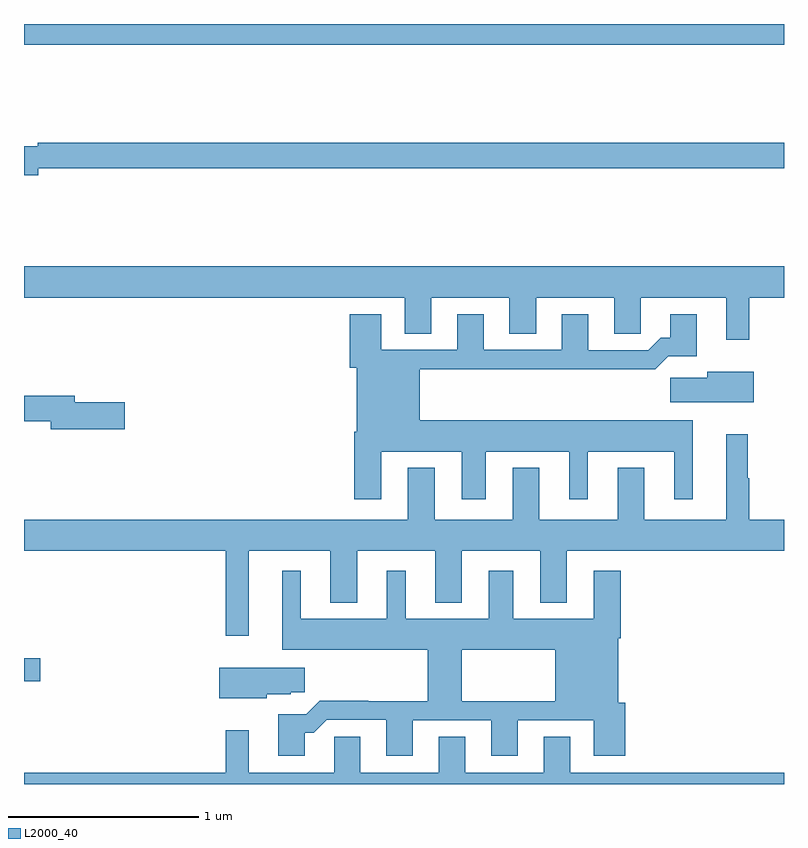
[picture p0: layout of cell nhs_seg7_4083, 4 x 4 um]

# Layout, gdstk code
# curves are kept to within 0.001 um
import gdstk
lib = gdstk.Library(unit=1e-6, precision=1e-09)
def R(c, l, rs):  # rectangles x0, y0, x1, y1
    for r in rs: c.add(gdstk.rectangle(r[:2], r[2:], *l))
def P(c, l, *ps):  # polygons
    for p in ps: c.add(gdstk.Polygon(p, *l))
L2000_40 = (2000, 40)

nhs_seg7_4083 = lib.new_cell('nhs_seg7_4083')
R(nhs_seg7_4083, L2000_40, [(369,1054.541,369.085,1054.663), (369,1057.892,373,1058)])
P(nhs_seg7_4083, L2000_40, [(369.076,1057.24),(373,1057.24),(373,1057.376),(369.072,1057.376),(369.072,1057.357),(369,1057.357),(369,1057.205),(369.076,1057.205)],
  [(369,1056.56),(371.003,1056.56),(371.003,1056.37),(371.143,1056.37),(371.143,1056.56),(371.555,1056.56),(371.555,1056.37),(371.695,1056.37),(371.695,1056.56),(372.107,1056.56),(372.107,1056.37),(372.246,1056.37),(372.246,1056.56),(372.695,1056.56),(372.695,1056.339),(372.817,1056.339),(372.817,1056.56),(373,1056.56),(373,1056.724),(369,1056.724)],
  [(370.879,1055.75),(371.303,1055.75),(371.303,1055.499),(371.431,1055.499),(371.431,1055.75),(371.87,1055.75),(371.87,1055.499),(371.968,1055.499),(371.968,1055.75),(372.422,1055.75),(372.422,1055.499),(372.52,1055.499),(372.52,1055.914),(371.083,1055.914),(371.083,1056.184),(372.067,1056.184),(372.067,1056.182),(372.323,1056.182),(372.392,1056.251),(372.541,1056.251),(372.541,1056.472),(372.401,1056.472),(372.401,1056.349),(372.352,1056.349),(372.285,1056.282),(371.971,1056.282),(371.971,1056.472),(371.831,1056.472),(371.831,1056.285),(371.419,1056.285),(371.419,1056.472),(371.279,1056.472),(371.279,1056.285),(370.879,1056.285),(370.879,1056.472),(370.715,1056.472),(370.715,1056.192),(370.751,1056.192),(370.751,1055.854),(370.739,1055.854),(370.739,1055.499),(370.879,1055.499)],
  [(372.841,1056.169),(372.596,1056.169),(372.596,1056.137),(372.402,1056.137),(372.402,1056.008),(372.841,1056.008)],
  [(369.529,1056.008),(369.268,1056.008),(369.268,1056.044),(369,1056.044),(369,1055.908),(369.14,1055.908),(369.14,1055.866),(369.529,1055.866)],
  [(370.183,1055.228),(370.613,1055.228),(370.613,1054.955),(370.753,1054.955),(370.753,1055.228),(371.165,1055.228),(371.165,1054.955),(371.305,1054.955),(371.305,1055.228),(371.717,1055.228),(371.717,1054.955),(371.857,1054.955),(371.857,1055.228),(373,1055.228),(373,1055.392),(372.817,1055.392),(372.817,1055.609),(372.809,1055.609),(372.809,1055.842),(372.695,1055.842),(372.695,1055.392),(372.265,1055.392),(372.265,1055.665),(372.125,1055.665),(372.125,1055.392),(371.713,1055.392),(371.713,1055.665),(371.573,1055.665),(371.573,1055.392),(371.161,1055.392),(371.161,1055.665),(371.021,1055.665),(371.021,1055.392),(369,1055.392),(369,1055.228),(370.062,1055.228),(370.062,1054.779),(370.183,1054.779)],
  [(370.811,1054.439),(370.556,1054.439),(370.485,1054.368),(370.337,1054.368),(370.337,1054.149),(370.477,1054.149),(370.477,1054.271),(370.526,1054.271),(370.593,1054.338),(370.907,1054.338),(370.907,1054.149),(371.047,1054.149),(371.047,1054.335),(371.459,1054.335),(371.459,1054.149),(371.599,1054.149),(371.599,1054.335),(371.999,1054.335),(371.999,1054.149),(372.164,1054.149),(372.164,1054.428),(372.127,1054.428),(372.127,1054.766),(372.14,1054.766),(372.14,1055.122),(371.999,1055.122),(371.999,1054.87),(371.575,1054.87),(371.575,1055.122),(371.447,1055.122),(371.447,1054.87),(371.008,1054.87),(371.008,1055.122),(370.91,1055.122),(370.91,1054.87),(370.456,1054.87),(370.456,1055.122),(370.358,1055.122),(370.358,1054.706),(371.126,1054.706),(371.126,1054.436),(371.304,1054.436),(371.304,1054.706),(371.795,1054.706),(371.795,1054.436),(370.811,1054.436)],
  [(370.278,1054.472),(370.404,1054.472),(370.404,1054.483),(370.477,1054.483),(370.477,1054.612),(370.028,1054.612),(370.028,1054.451),(370.278,1054.451)],
  [(373,1054.06),(371.875,1054.06),(371.875,1054.25),(371.735,1054.25),(371.735,1054.06),(371.323,1054.06),(371.323,1054.25),(371.183,1054.25),(371.183,1054.06),(370.771,1054.06),(370.771,1054.25),(370.632,1054.25),(370.632,1054.06),(370.183,1054.06),(370.183,1054.282),(370.062,1054.282),(370.062,1054.06),(369,1054.06),(369,1054),(373,1054)])

lib.write_gds('nhs_seg7_4083.gds')
